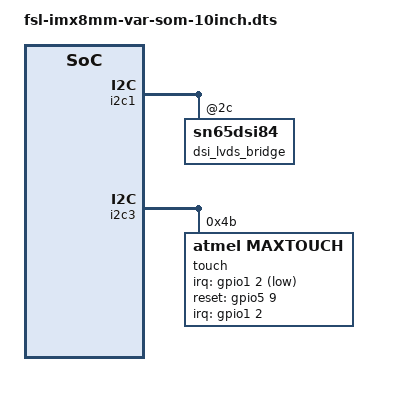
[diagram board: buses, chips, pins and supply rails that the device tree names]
/*
 * Copyright 2021 Thermasol, Blake W. Ford
 */

#include "fsl-imx8mm-var-som-legacy.dts"

&i2c1 {
	dsi_lvds_bridge: sn65dsi84@2c {
		ti,lvds-format = <2>;
		display-timings {
			lvds {
				clock-frequency = <0x30D4000>;
				hactive = <0x400>;
				vactive = <0x258>;
				hback-porch = <0xa0>;
				hfront-porch = <0x18>;
				vback-porch = <0x1d>;
				vfront-porch = <0x3>;
				hsync-len = <0x88>;
				vsync-len = <0x6>;
			};
		};
	};
};

&i2c3 {
	/* Capacitive touch controller */
	touch@4b {
		compatible = "atmel,maxtouch";
		reg = <0x4b>;
		pinctrl-name = "default";
		pinctrl-0 = <&pinctrl_captouch>;
		interrupt-parent = <&gpio1>;
		interrupts = <2 0>;
		atmel,panel-coords = <0x0 0x0 0x3ff 0x257>;
		atmel,display-coords = <0x0 0x0 0x3ff 0x257>;
		vdd_ana-supplu = <0x2c>;
		irq-gpio = <&gpio1 2 1>;
		reset-gpio = <&gpio5 9 GPIO_ACTIVE_HIGH>;
	};
};
